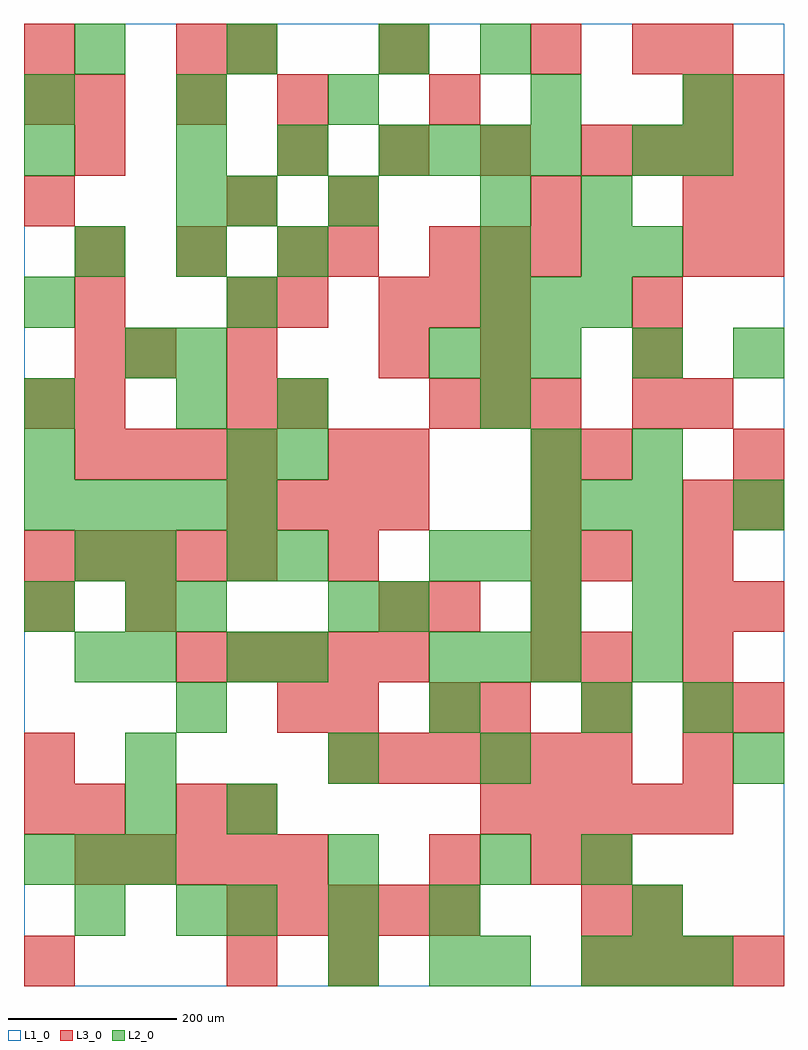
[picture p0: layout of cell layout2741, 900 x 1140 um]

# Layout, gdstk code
import gdstk
lib = gdstk.Library(unit=1e-6, precision=1e-09)
def R(c, l, rs):  # rectangles x0, y0, x1, y1
    for r in rs: c.add(gdstk.rectangle(r[:2], r[2:], *l))
def A(c, l, x, y, w, h, nx, ny, dx, dy):  # array of equal rectangles
    R(c, l, [(x+i*dx, y+j*dy, x+i*dx+w, y+j*dy+h) for i in range(nx) for j in range(ny)])
L1_0 = (1, 0)
L2_0 = (2, 0)
L3_0 = (3, 0)

layout2741 = lib.new_cell('layout2741')
R(layout2741, L1_0, [(0,0,900,1140)])
A(layout2741, L2_0, 360, 0, 60, 60, 1, 3, 0, 120)
A(layout2741, L2_0, 540, 0, 60, 60, 1, 3, 0, 120)
A(layout2741, L2_0, 660, 0, 60, 60, 3, 1, 60, 0)
A(layout2741, L2_0, 240, 60, 60, 60, 3, 1, 120, 0)
A(layout2741, L2_0, 0, 120, 60, 60, 3, 1, 60, 0)
A(layout2741, L2_0, 120, 360, 60, 60, 1, 3, 0, 60)
A(layout2741, L2_0, 240, 360, 60, 60, 1, 3, 0, 120)
A(layout2741, L2_0, 300, 360, 60, 60, 1, 3, 0, 120)
A(layout2741, L2_0, 480, 360, 60, 60, 3, 2, 60, 120)
A(layout2741, L2_0, 720, 360, 60, 60, 1, 3, 0, 60)
A(layout2741, L2_0, 0, 540, 60, 60, 5, 1, 60, 0)
A(layout2741, L2_0, 600, 540, 60, 60, 3, 1, 60, 0)
A(layout2741, L2_0, 720, 600, 60, 60, 1, 4, 0, 120)
A(layout2741, L2_0, 480, 720, 60, 60, 3, 2, 60, 240)
A(layout2741, L2_0, 540, 780, 60, 60, 3, 1, 60, 0)
A(layout2741, L2_0, 60, 840, 60, 60, 3, 1, 120, 0)
A(layout2741, L2_0, 180, 960, 60, 60, 3, 1, 120, 0)
A(layout2741, L2_0, 0, 1020, 60, 60, 3, 1, 180, 0)
A(layout2741, L2_0, 60, 1080, 60, 60, 3, 1, 180, 0)
R(layout2741, L2_0, [(480,0,540,60), (60,60,120,120), (180,60,240,120), (720,60,780,120), (660,120,720,180), (120,180,180,240), (240,180,300,240), (120,240,180,300), (840,240,900,300), (180,300,240,360), (480,300,540,360), (660,300,720,360), (780,300,840,360), (60,360,120,420), (0,420,60,480), (180,420,240,480), (360,420,420,480), (420,420,480,480), (600,420,660,480), (60,480,120,540), (840,540,900,600), (0,600,60,660), (600,600,660,660), (0,660,60,720), (180,660,240,720), (300,660,360,720), (540,660,600,720), (120,720,180,780), (180,720,240,780), (840,720,900,780), (0,780,60,840), (240,780,300,840), (540,840,600,900), (660,840,720,900), (180,900,240,960), (240,900,300,960), (360,900,420,960), (540,900,600,960), (660,900,720,960), (0,960,60,1020), (780,960,840,1020), (600,1020,660,1080), (780,1020,840,1080), (540,1080,600,1140)])
A(layout2741, L3_0, 660, 0, 60, 60, 4, 1, 60, 0)
A(layout2741, L3_0, 240, 60, 60, 60, 5, 1, 60, 0)
A(layout2741, L3_0, 60, 120, 60, 60, 5, 1, 60, 0)
A(layout2741, L3_0, 540, 180, 60, 60, 5, 1, 60, 0)
A(layout2741, L3_0, 360, 240, 60, 60, 6, 1, 60, 0)
A(layout2741, L3_0, 540, 300, 60, 60, 3, 1, 120, 0)
A(layout2741, L3_0, 840, 300, 60, 60, 1, 3, 0, 120)
A(layout2741, L3_0, 180, 360, 60, 60, 5, 1, 60, 0)
A(layout2741, L3_0, 600, 360, 60, 60, 1, 5, 0, 60)
A(layout2741, L3_0, 660, 360, 60, 60, 1, 3, 0, 120)
A(layout2741, L3_0, 780, 360, 60, 60, 1, 4, 0, 60)
A(layout2741, L3_0, 0, 420, 60, 60, 1, 3, 0, 240)
A(layout2741, L3_0, 0, 480, 60, 60, 5, 1, 60, 0)
A(layout2741, L3_0, 240, 540, 60, 60, 4, 1, 60, 0)
A(layout2741, L3_0, 60, 600, 60, 60, 4, 1, 60, 0)
A(layout2741, L3_0, 60, 660, 60, 60, 1, 3, 0, 60)
A(layout2741, L3_0, 240, 660, 60, 60, 1, 3, 0, 60)
A(layout2741, L3_0, 480, 660, 60, 60, 3, 2, 60, 180)
A(layout2741, L3_0, 720, 660, 60, 60, 1, 3, 0, 60)
A(layout2741, L3_0, 420, 780, 60, 60, 3, 1, 60, 0)
A(layout2741, L3_0, 60, 840, 60, 60, 3, 2, 120, 180)
A(layout2741, L3_0, 300, 960, 60, 60, 4, 1, 120, 0)
A(layout2741, L3_0, 720, 960, 60, 60, 3, 1, 60, 0)
A(layout2741, L3_0, 240, 1080, 60, 60, 3, 1, 180, 0)
R(layout2741, L3_0, [(0,0,60,60), (240,0,300,60), (360,0,420,60), (660,60,720,120), (720,60,780,120), (480,120,540,180), (600,120,660,180), (660,120,720,180), (0,180,60,240), (60,180,120,240), (180,180,240,240), (240,180,300,240), (0,240,60,300), (780,240,840,300), (300,300,360,360), (360,300,420,360), (480,300,540,360), (120,420,180,480), (420,420,480,480), (480,420,540,480), (360,480,420,540), (360,600,420,660), (420,600,480,660), (840,600,900,660), (300,660,360,720), (780,660,840,720), (120,720,180,780), (420,720,480,780), (540,720,600,780), (300,780,360,840), (360,840,420,900), (780,840,840,900), (840,840,900,900), (240,900,300,960), (360,900,420,960), (600,900,660,960), (780,900,840,960), (840,900,900,960), (60,960,120,1020), (0,1020,60,1080), (480,1020,540,1080), (780,1020,840,1080), (840,1020,900,1080), (0,1080,60,1140), (180,1080,240,1140), (720,1080,780,1140), (780,1080,840,1140)])

lib.write_gds('layout2741.gds')
